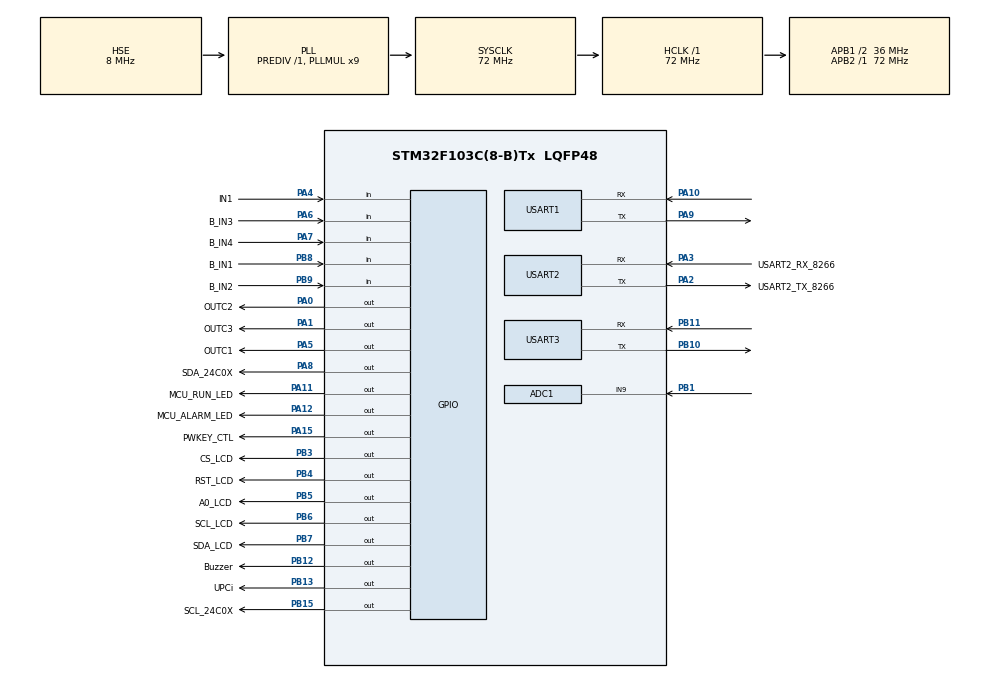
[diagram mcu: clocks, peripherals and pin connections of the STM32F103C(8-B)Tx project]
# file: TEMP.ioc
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ADC1.Channel-4\#ChannelRegularConversion=ADC_CHANNEL_9
ADC1.NbrOfConversionFlag=1
ADC1.Rank-4\#ChannelRegularConversion=1
ADC1.SamplingTime-4\#ChannelRegularConversion=ADC_SAMPLETIME_1CYCLE_5
ADC1.master=1
FREERTOS.INCLUDE_eTaskGetState=1
FREERTOS.INCLUDE_pcTaskGetTaskName=0
FREERTOS.INCLUDE_uxTaskGetStackHighWaterMark=1
FREERTOS.INCLUDE_xTaskGetCurrentTaskHandle=0
FREERTOS.MEMORY_ALLOCATION=0
FREERTOS.Tasks01=defaultTask,0,128,StartDefaultTask,Default,NULL,Dynamic,NULL,NULL
FREERTOS.configGENERATE_RUN_TIME_STATS=1
FREERTOS.configMAX_TASK_NAME_LEN=62
FREERTOS.configTIMER_QUEUE_LENGTH=1
FREERTOS.configTIMER_TASK_STACK_DEPTH=1000
FREERTOS.configTOTAL_HEAP_SIZE=12400
FREERTOS.configUSE_CO_ROUTINES=0
FREERTOS.configUSE_STATS_FORMATTING_FUNCTIONS=1
FREERTOS.configUSE_TICKLESS_IDLE=1
FREERTOS.configUSE_TIMERS=0
FREERTOS.configUSE_TRACE_FACILITY=1
Mcu.Family=STM32F1
Mcu.Name=STM32F103C(8-B)Tx
Mcu.Package=LQFP48
NVIC.PriorityGroup=NVIC_PRIORITYGROUP_4
NVIC.USART1_IRQn=true\:5\:0\:false\:false\:true\:true\:true
NVIC.USART2_IRQn=true\:5\:0\:false\:true\:true\:1\:true\:true
PA0-WKUP.GPIO_Label=OUTC2
PA0-WKUP.PinState=GPIO_PIN_SET
PA0-WKUP.Signal=GPIO_Output
PA1.GPIO_Label=OUTC3
PA1.PinState=GPIO_PIN_SET
PA1.Signal=GPIO_Output
PA10.Mode=Asynchronous
PA10.Signal=USART1_RX
PA11.GPIO_Label=MCU_RUN_LED
PA11.Signal=GPIO_Output
PA12.GPIO_Label=MCU_ALARM_LED
PA12.Signal=GPIO_Output
PA13.Mode=Serial_Wire
PA13.Signal=SYS_JTMS-SWDIO
PA14.Mode=Serial_Wire
PA14.Signal=SYS_JTCK-SWCLK
PA15.GPIO_Label=PWKEY_CTL
PA15.Signal=GPIO_Output
PA2.GPIO_Label=USART2_TX_8266
PA2.Mode=Asynchronous
PA2.Signal=USART2_TX
PA3.GPIO_Label=USART2_RX_8266
PA3.Mode=Asynchronous
PA3.Signal=USART2_RX
PA4.GPIO_Label=IN1
PA4.Signal=GPIO_Input
PA5.GPIO_Label=OUTC1
PA5.PinState=GPIO_PIN_SET
PA5.Signal=GPIO_Output
PA6.GPIO_Label=B_IN3
PA6.Signal=GPIO_Input
PA7.GPIO_Label=B_IN4
PA7.Signal=GPIO_Input
PA8.GPIO_Label=SDA_24C0X
PA8.Signal=GPIO_Output
PA9.Mode=Asynchronous
PA9.Signal=USART1_TX
PB1.Signal=ADCx_IN9
PB10.Mode=Asynchronous
PB10.Signal=USART3_TX
PB11.Mode=Asynchronous
PB11.Signal=USART3_RX
PB12.GPIO_Label=Buzzer
PB12.PinState=GPIO_PIN_RESET
PB12.Signal=GPIO_Output
PB13.GPIO_Label=UPCi
PB13.Signal=GPIO_Output
PB15.GPIO_Label=SCL_24C0X
PB15.Signal=GPIO_Output
PB3.GPIO_Label=CS_LCD
PB3.Signal=GPIO_Output
PB4.GPIO_Label=RST_LCD
PB4.Signal=GPIO_Output
PB5.GPIO_Label=A0_LCD
PB5.Signal=GPIO_Output
PB6.GPIO_Label=SCL_LCD
PB6.Signal=GPIO_Output
PB7.GPIO_Label=SDA_LCD
PB7.Signal=GPIO_Output
PB8.GPIO_Label=B_IN1
PB8.Signal=GPIO_Input
PB9.GPIO_Label=B_IN2
PB9.Signal=GPIO_Input
PC14-OSC32_IN.Mode=LSE-External-Oscillator
PC14-OSC32_IN.Signal=RCC_OSC32_IN
PC15-OSC32_OUT.Mode=LSE-External-Oscillator
PC15-OSC32_OUT.Signal=RCC_OSC32_OUT
PD0-OSC_IN.Mode=HSE-External-Oscillator
PD0-OSC_IN.Signal=RCC_OSC_IN
PD1-OSC_OUT.Mode=HSE-External-Oscillator
PD1-OSC_OUT.Signal=RCC_OSC_OUT
ProjectManager.HeapSize=0xB00
ProjectManager.StackSize=0x400
ProjectManager.TargetToolchain=MDK-ARM V5
RCC.ADCPresc=RCC_ADCPCLK2_DIV6
RCC.AHBFreq_Value=72000000
RCC.APB1CLKDivider=RCC_HCLK_DIV2
RCC.APB1Freq_Value=36000000
RCC.APB1TimFreq_Value=72000000
RCC.APB2Freq_Value=72000000
RCC.APB2TimFreq_Value=72000000
RCC.HCLKFreq_Value=72000000
RCC.PLLMUL=RCC_PLL_MUL9
RCC.PLLSourceVirtual=RCC_PLLSOURCE_HSE
RCC.RTCClockSelection=RCC_RTCCLKSOURCE_LSE
RCC.SYSCLKFreq_VALUE=72000000
RCC.SYSCLKSource=RCC_SYSCLKSOURCE_PLLCLK
RCC.USBFreq_Value=72000000
RTC.Format=RTC_FORMAT_BIN
SH.ADCx_IN9.0=ADC1_IN9,IN9
USART1.VirtualMode=VM_ASYNC
USART2.VirtualMode=VM_ASYNC
USART3.VirtualMode=VM_ASYNC
VP_FREERTOS_VS_ENABLE.Mode=Enabled
VP_RTC_VS_RTC_Activate.Mode=RTC_Enabled
board=custom

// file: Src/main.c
/**
  ******************************************************************************
  * @file           : main.c
  * @brief          : Main program body
  ******************************************************************************
  * This notice applies to any and all portions of this file
  * that are not between comment pairs USER CODE BEGIN and
  * USER CODE END. Other portions of this file, whether
  * inserted by the user or by software development tools
  * are owned by their respective copyright owners.
  *
  * Copyright (c) 2018 STMicroelectronics International N.V.
  * All rights reserved.
  *
  * Redistribution and use in source and binary forms, with or without
  * modification, are permitted, provided that the following conditions are met:
  *
  * 1. Redistribution of source code must retain the above copyright notice,
  *    this list of conditions and the following disclaimer.
  * 2. Redistributions in binary form must reproduce the above copyright notice,
  *    this list of conditions and the following disclaimer in the documentation
  *    and/or other materials provided with the distribution.
  * 3. Neither the name of STMicroelectronics nor the names of other
  *    contributors to this software may be used to endorse or promote products
  *    derived from this software without specific written permission.
  * 4. This software, including modifications and/or derivative works of this
  *    software, must execute solely and exclusively on microcontroller or
  *    microprocessor devices manufactured by or for STMicroelectronics.
  * 5. Redistribution and use of this software other than as permitted under
  *    this license is void and will automatically terminate your rights under
  *    this license.
  *
  * THIS SOFTWARE IS PROVIDED BY STMICROELECTRONICS AND CONTRIBUTORS "AS IS"
  * AND ANY EXPRESS, IMPLIED OR STATUTORY WARRANTIES, INCLUDING, BUT NOT
  * LIMITED TO, THE IMPLIED WARRANTIES OF MERCHANTABILITY, FITNESS FOR A
  * PARTICULAR PURPOSE AND NON-INFRINGEMENT OF THIRD PARTY INTELLECTUAL PROPERTY
  * RIGHTS ARE DISCLAIMED TO THE FULLEST EXTENT PERMITTED BY LAW. IN NO EVENT
  * SHALL STMICROELECTRONICS OR CONTRIBUTORS BE LIABLE FOR ANY DIRECT, INDIRECT,
  * INCIDENTAL, SPECIAL, EXEMPLARY, OR CONSEQUENTIAL DAMAGES (INCLUDING, BUT NOT
  * LIMITED TO, PROCUREMENT OF SUBSTITUTE GOODS OR SERVICES; LOSS OF USE, DATA,
  * OR PROFITS; OR BUSINESS INTERRUPTION) HOWEVER CAUSED AND ON ANY THEORY OF
  * LIABILITY, WHETHER IN CONTRACT, STRICT LIABILITY, OR TORT (INCLUDING
  * NEGLIGENCE OR OTHERWISE) ARISING IN ANY WAY OUT OF THE USE OF THIS SOFTWARE,
  * EVEN IF ADVISED OF THE POSSIBILITY OF SUCH DAMAGE.
  *
  ******************************************************************************
  */
#include "main.h"
#include "stm32f1xx_hal.h"
#include "cmsis_os.h"

/* USER CODE BEGIN Includes */
#include "LED.h"
#include "button.h"
#include "dma.h"
#include "HUMI.h"
#include "LCD12864.h"
#include "ESP8266.h"
#include "Check_Stroking_Cycle.h"
#include "Strategy.h"
#include "24c0x.h"
#include "relay.h"
#include "LCD12864_Display_Menu_Set_Strategy.h"

/* Private function prototypes -----------------------------------------------*/
#ifdef __GNUC__
/* With GCC, small printf (option LD Linker->Libraries->Small printf
   set to 'Yes') calls __io_putchar() */
#define PUTCHAR_PROTOTYPE int __io_putchar(int ch)
#else
#define PUTCHAR_PROTOTYPE int fputc(int ch, FILE *f)
#endif /* __GNUC__ */
/* USER CODE END Includes */

ADC_HandleTypeDef hadc1;

RTC_HandleTypeDef hrtc;

UART_HandleTypeDef huart1;
UART_HandleTypeDef huart2;
UART_HandleTypeDef huart3;

osThreadId defaultTaskHandle;

/* USER CODE BEGIN PV */
/* Private variables ---------------------------------------------------------*/
osThreadId Start_LED_TaskHandle;		//LED任务句柄
osThreadId Start_HUMI_TaskHandle;		//温度任务句柄
osThreadId Start_RTC_TaskHandle;		//实时时钟任务句柄
osThreadId Start_BUTTON_TaskHandle;		//扫描按键任务句柄
osThreadId Start_Delete_TaskHandle;		//删除任务句柄
osThreadId Start_Strategy_TaskHandle;
osThreadId Start_LCD12864_TaskHandle;	//12864句柄
Delete_Task_struct G_Delete_Task_struct;//删除任务的结构体
extern uint8_t Uart1_RxBuff[];			//1接收缓冲
extern uint8_t Uart2_RxBuff[];			//2接收缓冲
extern Strategy_struct S_Strategy[8];	//缓存8条策略

/* USER CODE END PV */

void SystemClock_Config(void);
static void MX_GPIO_Init(void);
static void MX_USART1_UART_Init(void);
static void MX_ADC1_Init(void);
static void MX_USART3_UART_Init(void);
static void MX_RTC_Init(void);
static void MX_USART2_UART_Init(void);
void StartDefaultTask(void const * argument);
static void MX_NVIC_Init(void);

/* USER CODE BEGIN PFP */
/* Private function prototypes -----------------------------------------------*/
void Check_Strategy(void);

/* USER CODE END PFP */

int main(void)
{

  /* MCU Configuration----------------------------------------------------------*/

  /* Reset of all peripherals, Initializes the Flash interface and the Systick. */
  HAL_Init();

  /* Configure the system clock */
  SystemClock_Config();

  /* Initialize all configured peripherals */
  MX_GPIO_Init();
  MX_USART1_UART_Init();
  MX_ADC1_Init();
  MX_USART3_UART_Init();
  MX_RTC_Init();
  MX_USART2_UART_Init();

  /* Initialize interrupts */
  MX_NVIC_Init();
  /* USER CODE BEGIN 2 */

  //  MYDMA_Config(DMA1_Channel7);
  /* USER CODE END 2 */

  /* Create the thread(s) */
  /* definition and creation of defaultTask */
  osThreadDef(defaultTask, StartDefaultTask, osPriorityNormal, 0, 256);
  defaultTaskHandle = osThreadCreate(osThread(defaultTask), NULL);

  /* Start scheduler */
  osKernelStart();

  /* We should never get here as control is now taken by the scheduler */

  /* Infinite loop */
  while (1)
  {

  }

}

void SystemClock_Config(void)
{

  RCC_OscInitTypeDef RCC_OscInitStruct;
  RCC_ClkInitTypeDef RCC_ClkInitStruct;
  RCC_PeriphCLKInitTypeDef PeriphClkInit;

    /**Initializes the CPU, AHB and APB busses clocks
    */
  RCC_OscInitStruct.OscillatorType = RCC_OSCILLATORTYPE_HSE|RCC_OSCILLATORTYPE_LSE;
  RCC_OscInitStruct.HSEState = RCC_HSE_ON;
  RCC_OscInitStruct.HSEPredivValue = RCC_HSE_PREDIV_DIV1;
  RCC_OscInitStruct.LSEState = RCC_LSE_ON;
  RCC_OscInitStruct.HSIState = RCC_HSI_ON;
  RCC_OscInitStruct.PLL.PLLState = RCC_PLL_ON;
  RCC_OscInitStruct.PLL.PLLSource = RCC_PLLSOURCE_HSE;
  RCC_OscInitStruct.PLL.PLLMUL = RCC_PLL_MUL9;
  if (HAL_RCC_OscConfig(&RCC_OscInitStruct) != HAL_OK)
  {
    _Error_Handler(__FILE__, __LINE__);
  }

    /**Initializes the CPU, AHB and APB busses clocks
    */
  RCC_ClkInitStruct.ClockType = RCC_CLOCKTYPE_HCLK|RCC_CLOCKTYPE_SYSCLK
                              |RCC_CLOCKTYPE_PCLK1|RCC_CLOCKTYPE_PCLK2;
  RCC_ClkInitStruct.SYSCLKSource = RCC_SYSCLKSOURCE_PLLCLK;
  RCC_ClkInitStruct.AHBCLKDivider = RCC_SYSCLK_DIV1;
  RCC_ClkInitStruct.APB1CLKDivider = RCC_HCLK_DIV2;
  RCC_ClkInitStruct.APB2CLKDivider = RCC_HCLK_DIV1;

  if (HAL_RCC_ClockConfig(&RCC_ClkInitStruct, FLASH_LATENCY_2) != HAL_OK)
  {
    _Error_Handler(__FILE__, __LINE__);
  }

  PeriphClkInit.PeriphClockSelection = RCC_PERIPHCLK_RTC|RCC_PERIPHCLK_ADC;
  PeriphClkInit.RTCClockSelection = RCC_RTCCLKSOURCE_LSE;
  PeriphClkInit.AdcClockSelection = RCC_ADCPCLK2_DIV6;
  if (HAL_RCCEx_PeriphCLKConfig(&PeriphClkInit) != HAL_OK)
  {
    _Error_Handler(__FILE__, __LINE__);
  }

    /**Configure the Systick interrupt time
    */
  HAL_SYSTICK_Config(HAL_RCC_GetHCLKFreq()/1000);

    /**Configure the Systick
    */
  HAL_SYSTICK_CLKSourceConfig(SYSTICK_CLKSOURCE_HCLK);

  /* SysTick_IRQn interrupt configuration */
  HAL_NVIC_SetPriority(SysTick_IRQn, 15, 0);
}

/**
  * @brief NVIC Configuration.
  * @retval None
  */
static void MX_NVIC_Init(void)
{
  /* USART2_IRQn interrupt configuration */
  HAL_NVIC_SetPriority(USART2_IRQn, 5, 0);
  HAL_NVIC_EnableIRQ(USART2_IRQn);
}

/* ADC1 init function */
static void MX_ADC1_Init(void)
{

  ADC_ChannelConfTypeDef sConfig;

    /**Common config
    */
  hadc1.Instance = ADC1;
  hadc1.Init.ScanConvMode = ADC_SCAN_DISABLE;
  hadc1.Init.ContinuousConvMode = DISABLE;
  hadc1.Init.DiscontinuousConvMode = DISABLE;
  hadc1.Init.ExternalTrigConv = ADC_SOFTWARE_START;
  hadc1.Init.DataAlign = ADC_DATAALIGN_RIGHT;
  hadc1.Init.NbrOfConversion = 1;
  if (HAL_ADC_Init(&hadc1) != HAL_OK)
  {
    _Error_Handler(__FILE__, __LINE__);
  }

    /**Configure Regular Channel
    */
  sConfig.Channel = ADC_CHANNEL_9;
  sConfig.Rank = ADC_REGULAR_RANK_1;
  sConfig.SamplingTime = ADC_SAMPLETIME_1CYCLE_5;
  if (HAL_ADC_ConfigChannel(&hadc1, &sConfig) != HAL_OK)
  {
    _Error_Handler(__FILE__, __LINE__);
  }

}

/* RTC init function */
static void MX_RTC_Init(void)
{

  /* USER CODE BEGIN RTC_Init 0 */
	RTC_TimeTypeDef Time;
  /* USER CODE END RTC_Init 0 */

    /**Initialize RTC Only
    */
  hrtc.Instance = RTC;
  hrtc.Init.AsynchPrediv = RTC_AUTO_1_SECOND;
  hrtc.Init.OutPut = RTC_OUTPUTSOURCE_ALARM;
  if (HAL_RTC_Init(&hrtc) != HAL_OK)
  {
    _Error_Handler(__FILE__, __LINE__);
  }
  /* USER CODE BEGIN RTC_Init 2 */
 // HAL_StatusTypeDef HAL_RTC_GetTime(RTC_HandleTypeDef *hrtc, RTC_TimeTypeDef *sTime, uint32_t Format);
  HAL_RTC_GetTime(&hrtc,&Time,RTC_FORMAT_BIN);
//  printf("T: %d:%d:%d\r\n",Time.Hours,Time.Minutes,Time.Seconds);
//  Time.Hours = 16;
//  Time.Minutes = 34;
//  Time.Seconds = 10;
//  HAL_RTC_SetTime(&hrtc,&Time,RTC_FORMAT_BIN);
  /* USER CODE END RTC_Init 2 */

}

/* USART1 init function */
static void MX_USART1_UART_Init(void)
{

  huart1.Instance = USART1;
  huart1.Init.BaudRate = 115200;
  huart1.Init.WordLength = UART_WORDLENGTH_8B;
  huart1.Init.StopBits = UART_STOPBITS_1;
  huart1.Init.Parity = UART_PARITY_NONE;
  huart1.Init.Mode = UART_MODE_TX_RX;
  huart1.Init.HwFlowCtl = UART_HWCONTROL_NONE;
  huart1.Init.OverSampling = UART_OVERSAMPLING_16;
  if (HAL_UART_Init(&huart1) != HAL_OK)
  {
    _Error_Handler(__FILE__, __LINE__);
  }

}

/* USART2 init function */
static void MX_USART2_UART_Init(void)
{

  huart2.Instance = USART2;
  huart2.Init.BaudRate = 115200;
  huart2.Init.WordLength = UART_WORDLENGTH_8B;
  huart2.Init.StopBits = UART_STOPBITS_1;
  huart2.Init.Parity = UART_PARITY_NONE;
  huart2.Init.Mode = UART_MODE_TX_RX;
  huart2.Init.HwFlowCtl = UART_HWCONTROL_NONE;
  huart2.Init.OverSampling = UART_OVERSAMPLING_16;
  if (HAL_UART_Init(&huart2) != HAL_OK)
  {
    _Error_Handler(__FILE__, __LINE__);
  }

}

/* USART3 init function */
static void MX_USART3_UART_Init(void)
{

  huart3.Instance = USART3;
  huart3.Init.BaudRate = 115200;
  huart3.Init.WordLength = UART_WORDLENGTH_8B;
  huart3.Init.StopBits = UART_STOPBITS_1;
  huart3.Init.Parity = UART_PARITY_NONE;
  huart3.Init.Mode = UART_MODE_TX_RX;
  huart3.Init.HwFlowCtl = UART_HWCONTROL_NONE;
  huart3.Init.OverSampling = UART_OVERSAMPLING_16;
  if (HAL_UART_Init(&huart3) != HAL_OK)
  {
    _Error_Handler(__FILE__, __LINE__);
  }

}

/** Configure pins as
        * Analog
        * Input
        * Output
        * EVENT_OUT
        * EXTI
*/
static void MX_GPIO_Init(void)
{

  GPIO_InitTypeDef GPIO_InitStruct;

  /* GPIO Ports Clock Enable */
  __HAL_RCC_GPIOC_CLK_ENABLE();
  __HAL_RCC_GPIOD_CLK_ENABLE();
  __HAL_RCC_GPIOA_CLK_ENABLE();
  __HAL_RCC_GPIOB_CLK_ENABLE();

  /*Configure GPIO pin Output Level */
  HAL_GPIO_WritePin(GPIOA, OUTC2_Pin|OUTC3_Pin|OUTC1_Pin, GPIO_PIN_SET);

  /*Configure GPIO pin Output Level */
  HAL_GPIO_WritePin(GPIOB, Buzzer_Pin|UPCi_Pin|SCL_24C0X_Pin|CS_LCD_Pin
                          |RST_LCD_Pin|A0_LCD_Pin|SCL_LCD_Pin|SDA_LCD_Pin, GPIO_PIN_RESET);

  /*Configure GPIO pin Output Level */
  HAL_GPIO_WritePin(GPIOA, SDA_24C0X_Pin|MCU_RUN_LED_Pin|MCU_ALARM_LED_Pin|PWKEY_CTL_Pin, GPIO_PIN_RESET);

  /*Configure GPIO pins : OUTC2_Pin OUTC3_Pin OUTC1_Pin SDA_24C0X_Pin
                           MCU_RUN_LED_Pin MCU_ALARM_LED_Pin PWKEY_CTL_Pin */
  GPIO_InitStruct.Pin = OUTC2_Pin|OUTC3_Pin|OUTC1_Pin|SDA_24C0X_Pin
                          |MCU_RUN_LED_Pin|MCU_ALARM_LED_Pin|PWKEY_CTL_Pin;
  GPIO_InitStruct.Mode = GPIO_MODE_OUTPUT_PP;
  GPIO_InitStruct.Pull = GPIO_NOPULL;
  GPIO_InitStruct.Speed = GPIO_SPEED_FREQ_LOW;
  HAL_GPIO_Init(GPIOA, &GPIO_InitStruct);

  /*Configure GPIO pins : IN1_Pin B_IN3_Pin B_IN4_Pin */
  GPIO_InitStruct.Pin = IN1_Pin|B_IN3_Pin|B_IN4_Pin;
  GPIO_InitStruct.Mode = GPIO_MODE_INPUT;
  GPIO_InitStruct.Pull = GPIO_NOPULL;
  HAL_GPIO_Init(GPIOA, &GPIO_InitStruct);

  /*Configure GPIO pins : Buzzer_Pin UPCi_Pin SCL_24C0X_Pin CS_LCD_Pin
                           RST_LCD_Pin A0_LCD_Pin SCL_LCD_Pin SDA_LCD_Pin */
  GPIO_InitStruct.Pin = Buzzer_Pin|UPCi_Pin|SCL_24C0X_Pin|CS_LCD_Pin
                          |RST_LCD_Pin|A0_LCD_Pin|SCL_LCD_Pin|SDA_LCD_Pin;
  GPIO_InitStruct.Mode = GPIO_MODE_OUTPUT_PP;
  GPIO_InitStruct.Pull = GPIO_NOPULL;
  GPIO_InitStruct.Speed = GPIO_SPEED_FREQ_LOW;
  HAL_GPIO_Init(GPIOB, &GPIO_InitStruct);

  /*Configure GPIO pins : B_IN1_Pin B_IN2_Pin */
  GPIO_InitStruct.Pin = B_IN1_Pin|B_IN2_Pin;
  GPIO_InitStruct.Mode = GPIO_MODE_INPUT;
  GPIO_InitStruct.Pull = GPIO_NOPULL;
  HAL_GPIO_Init(GPIOB, &GPIO_InitStruct);

}

/* USER CODE BEGIN 4 */
PUTCHAR_PROTOTYPE
{
	uint8_t c = ch;
	HAL_UART_Transmit(&huart1, &c, 1, 0xff);
	return 0;
}

/*
 * 检查内部策略信息
 */
void Check_Strategy(void)
{
	uint8_t i;
	Strategy_struct pBuffer[8];
	//Init_Strategy(0);//不等于规则我需要的需要重写从0开始写
	for(i = 0;i < 8;i++)
	{
		AT24CXX_Read(i*0x10,((uint8_t*)pBuffer)+(sizeof(pBuffer[i])*i),sizeof(pBuffer[i]));
		//printf("pBuffer[%d].Strategy_Num = %d\r\n",i+1,pBuffer[i].Strategy_Num);
		if(pBuffer[i].Strategy_Num != (i+1)){
			Init_Strategy(0);//不等于规则我需要的需要重写 从0开始写
			return;
		}
	}
	for(i = 0;i < 8;i++)
	{
		AT24CXX_Read(i*0x10,((uint8_t*)G_Strategy)+(sizeof(G_Strategy[i])*i),sizeof(G_Strategy[i]));
		printf("[%d]Hours=%d\r\n",i,G_Strategy[i].Time.Hours);
		printf("[%d]Minutes=%d\r\n",i,G_Strategy[i].Time.Minutes);
	}
	//printf("sizeof(S_Strategy) = %d,sizeof(S_Strategy[0]) = %d\r\n",sizeof(S_Strategy),sizeof(S_Strategy[0]));
	memcpy((uint8_t*)S_Strategy,(uint8_t*)G_Strategy,sizeof(S_Strategy));
	return;
}

/*
 * 删除任务的任务
 * 这里很奇葩，空闲任务已经执行貌似没有启动，任务删除自己后来不能回收资源，所以先使用任务甲删除任务已的方式
 * 重点找人问问怎么回事
 * */
void Start_Delete_Task(void const * argument)
{
	while(1)
	{
		if(G_Delete_Task_struct.sign){
			osThreadTerminate(G_Delete_Task_struct.D_Task);
			G_Delete_Task_struct.sign = DISABLE;
		}
		osDelay(5);
	}
}

/* USER CODE END 4 */

/* StartDefaultTask function */
void StartDefaultTask(void const * argument)
{
  /* USER CODE BEGIN 5 */
	/* Infinite loop */
	Check_Strategy();				//检查策略是否正常
	Init_Humi_Comp();				//初始化温度补偿
	Check_Max_And_Now_Route();		//检查最大行程和当前行程
	Check_Delay_Inspection();		//延时检查时间
	Check_Stroking_Cycle();			//当前干簧管周期

	taskENTER_CRITICAL();		//进入临界区

	osThreadDef(LCD12864_Task, Start_LCD12864_Task, osPriorityNormal, 0, 128);	//创建LCD12864模块开始
	Start_LCD12864_TaskHandle = osThreadCreate(osThread(LCD12864_Task), NULL);	//

	osThreadDef(Led_Task, Start_LED_Task, osPriorityNormal, 0, 64);				//创建Led开始任务
	Start_LED_TaskHandle = osThreadCreate(osThread(Led_Task), NULL);

	osThreadDef(Button_Task, Start_Button_Task, osPriorityNormal, 0, 64);		//创建按键开始任务
	Start_BUTTON_TaskHandle = osThreadCreate(osThread(Button_Task), NULL);

	osThreadDef(ESP8266_Task, Start_ESP8266_Task,osPriorityNormal,0,128);		//创建8266开始任务
	Start_ESP8266_TaskHandle = osThreadCreate(osThread(ESP8266_Task), NULL);

	osThreadDef(HUMI_Task, Start_HUMI_Task, osPriorityNormal, 0, 64);			//创建温度采集模块
	Start_HUMI_TaskHandle = osThreadCreate(osThread(HUMI_Task), NULL);

	osThreadDef(Relay_Task, Start_Relay_Task, osPriorityNormal, 0, 64);			//创建继电器模块
	Start_Relay_TaskHandle = osThreadCreate(osThread(Relay_Task), NULL);

	osThreadDef(Delete_Task, Start_Delete_Task, osPriorityNormal, 0, 64);		//删除任务模块  找个明白人问问
	Start_Delete_TaskHandle = osThreadCreate(osThread(Delete_Task), NULL);

	osThreadDef(Strategy_Task, Start_Strategy_Task, osPriorityNormal, 0, 128);	//策略任务模块
	Start_Strategy_TaskHandle = osThreadCreate(osThread(Strategy_Task), NULL);

	taskEXIT_CRITICAL();//退出临界区

	for(;;)
	{
		osDelay(1);
	}
  /* USER CODE END 5 */
}

void _Error_Handler(char *file, int line)
{
  /* USER CODE BEGIN Error_Handler_Debug */
  /* User can add his own implementation to report the HAL error return state */
  while(1)
  {
	  printf("_Error_Handler\r\n");
  }
  /* USER CODE END Error_Handler_Debug */
}

/************************ (C) COPYRIGHT STMicroelectronics *****END OF FILE****/

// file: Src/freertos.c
/**
  ******************************************************************************
  * File Name          : freertos.c
  * Description        : Code for freertos applications
  ******************************************************************************
  * This notice applies to any and all portions of this file
  * that are not between comment pairs USER CODE BEGIN and
  * USER CODE END. Other portions of this file, whether
  * inserted by the user or by software development tools
  * are owned by their respective copyright owners.
  *
  * Copyright (c) 2018 STMicroelectronics International N.V.
  * All rights reserved.
  *
  * Redistribution and use in source and binary forms, with or without
  * modification, are permitted, provided that the following conditions are met:
  *
  * 1. Redistribution of source code must retain the above copyright notice,
  *    this list of conditions and the following disclaimer.
  * 2. Redistributions in binary form must reproduce the above copyright notice,
  *    this list of conditions and the following disclaimer in the documentation
  *    and/or other materials provided with the distribution.
  * 3. Neither the name of STMicroelectronics nor the names of other
  *    contributors to this software may be used to endorse or promote products
  *    derived from this software without specific written permission.
  * 4. This software, including modifications and/or derivative works of this
  *    software, must execute solely and exclusively on microcontroller or
  *    microprocessor devices manufactured by or for STMicroelectronics.
  * 5. Redistribution and use of this software other than as permitted under
  *    this license is void and will automatically terminate your rights under
  *    this license.
  *
  * THIS SOFTWARE IS PROVIDED BY STMICROELECTRONICS AND CONTRIBUTORS "AS IS"
  * AND ANY EXPRESS, IMPLIED OR STATUTORY WARRANTIES, INCLUDING, BUT NOT
  * LIMITED TO, THE IMPLIED WARRANTIES OF MERCHANTABILITY, FITNESS FOR A
  * PARTICULAR PURPOSE AND NON-INFRINGEMENT OF THIRD PARTY INTELLECTUAL PROPERTY
  * RIGHTS ARE DISCLAIMED TO THE FULLEST EXTENT PERMITTED BY LAW. IN NO EVENT
  * SHALL STMICROELECTRONICS OR CONTRIBUTORS BE LIABLE FOR ANY DIRECT, INDIRECT,
  * INCIDENTAL, SPECIAL, EXEMPLARY, OR CONSEQUENTIAL DAMAGES (INCLUDING, BUT NOT
  * LIMITED TO, PROCUREMENT OF SUBSTITUTE GOODS OR SERVICES; LOSS OF USE, DATA,
  * OR PROFITS; OR BUSINESS INTERRUPTION) HOWEVER CAUSED AND ON ANY THEORY OF
  * LIABILITY, WHETHER IN CONTRACT, STRICT LIABILITY, OR TORT (INCLUDING
  * NEGLIGENCE OR OTHERWISE) ARISING IN ANY WAY OUT OF THE USE OF THIS SOFTWARE,
  * EVEN IF ADVISED OF THE POSSIBILITY OF SUCH DAMAGE.
  *
  ******************************************************************************
  */

#include "FreeRTOS.h"
#include "task.h"

/* Pre/Post sleep processing prototypes */
void PreSleepProcessing(uint32_t *ulExpectedIdleTime);
void PostSleepProcessing(uint32_t *ulExpectedIdleTime);

/* Hook prototypes */
void configureTimerForRunTimeStats(void);
unsigned long getRunTimeCounterValue(void);

/* USER CODE BEGIN 1 */
/* Functions needed when configGENERATE_RUN_TIME_STATS is on */
__weak void configureTimerForRunTimeStats(void)
{

}

__weak unsigned long getRunTimeCounterValue(void)
{
return 0;
}
/* USER CODE END 1 */

/* USER CODE BEGIN PREPOSTSLEEP */
__weak void PreSleepProcessing(uint32_t *ulExpectedIdleTime)
{
/* place for user code */
}

__weak void PostSleepProcessing(uint32_t *ulExpectedIdleTime)
{
/* place for user code */
}
/* USER CODE END PREPOSTSLEEP */

/************************ (C) COPYRIGHT STMicroelectronics *****END OF FILE****/
